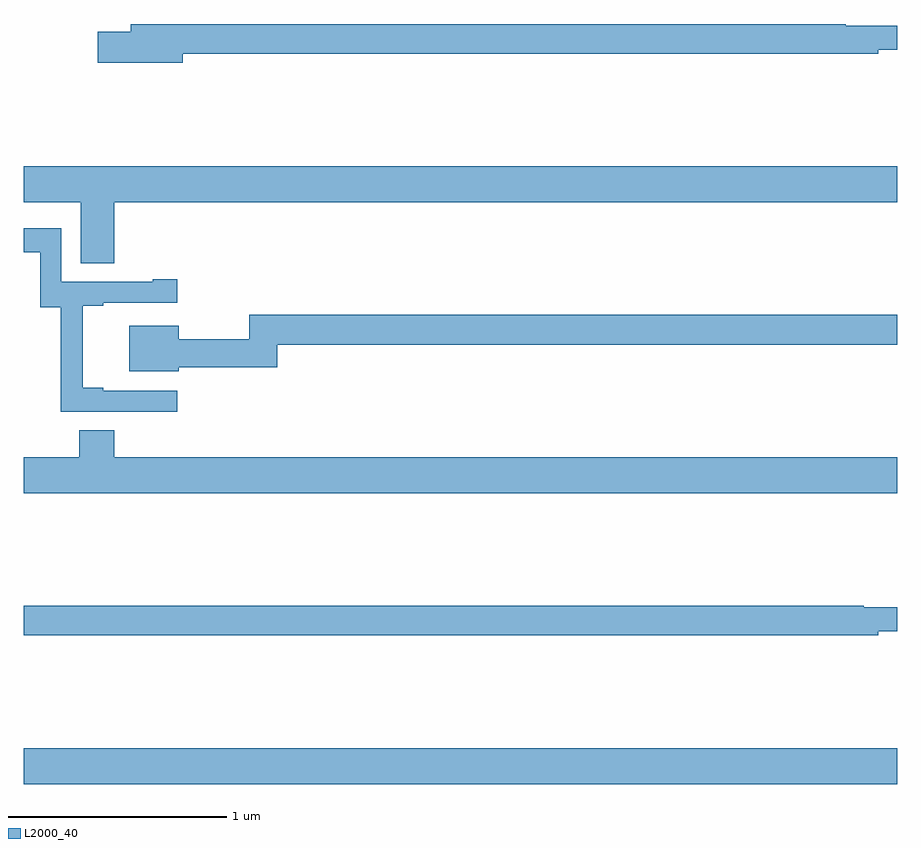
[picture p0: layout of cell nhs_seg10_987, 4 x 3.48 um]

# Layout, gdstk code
import gdstk
lib = gdstk.Library(unit=1e-6, precision=1e-09)
def R(c, l, rs):  # rectangles x0, y0, x1, y1
    for r in rs: c.add(gdstk.rectangle(r[:2], r[2:], *l))
def P(c, l, *ps):  # polygons
    for p in ps: c.add(gdstk.Polygon(p, *l))
L2000_40 = (2000, 40)

nhs_seg10_987 = lib.new_cell('nhs_seg10_987')
R(nhs_seg10_987, L2000_40, [(161,1294.988,165,1295.152)])
P(nhs_seg10_987, L2000_40, [(161.728,1298.332),(164.912,1298.332),(164.912,1298.351),(165,1298.351),(165,1298.461),(164.764,1298.461),(164.764,1298.468),(161.489,1298.468),(161.489,1298.432),(161.34,1298.432),(161.34,1298.29),(161.728,1298.29)],
  [(161.414,1297.652),(165,1297.652),(165,1297.816),(161,1297.816),(161,1297.652),(161.261,1297.652),(161.261,1297.372),(161.414,1297.372)],
  [(161.704,1296.789),(161.365,1296.789),(161.365,1296.802),(161.27,1296.802),(161.27,1297.179),(161.365,1297.179),(161.365,1297.191),(161.704,1297.191),(161.704,1297.3),(161.591,1297.3),(161.591,1297.287),(161.172,1297.287),(161.172,1297.533),(161,1297.533),(161,1297.422),(161.075,1297.422),(161.075,1297.171),(161.17,1297.171),(161.17,1296.693),(161.704,1296.693)],
  [(161.71,1296.897),(162.161,1296.897),(162.161,1297),(165,1297),(165,1297.136),(162.033,1297.136),(162.033,1297.025),(161.71,1297.025),(161.71,1297.087),(161.483,1297.087),(161.483,1296.878),(161.71,1296.878)],
  [(165,1296.484),(161.414,1296.484),(161.414,1296.608),(161.254,1296.608),(161.254,1296.484),(161,1296.484),(161,1296.32),(165,1296.32)],
  [(164.912,1295.687),(165,1295.687),(165,1295.797),(164.846,1295.797),(164.846,1295.804),(161,1295.804),(161,1295.668),(164.912,1295.668)])

lib.write_gds('nhs_seg10_987.gds')
